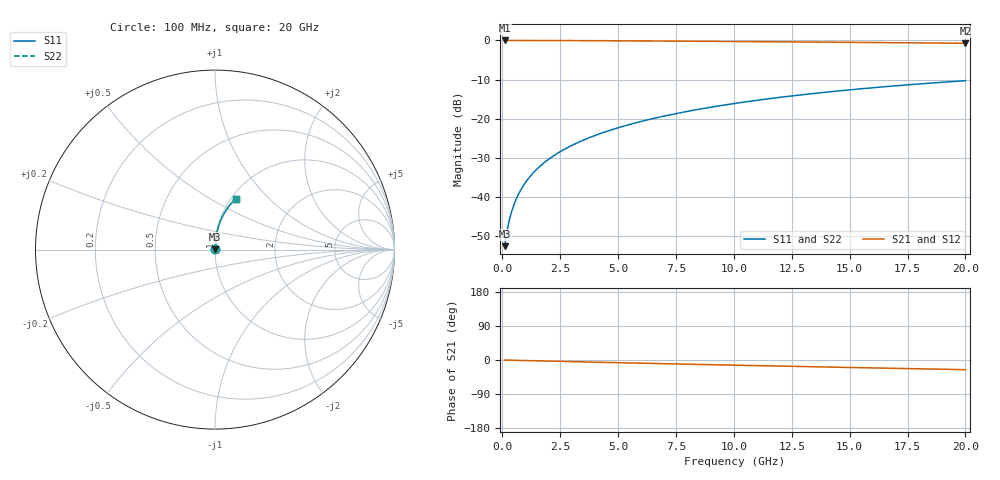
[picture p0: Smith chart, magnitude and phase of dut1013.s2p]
! Touchstone file exported from HFSS 2024.1.0
!  File:  C:/UserFiles/LocalFiles/RDL_TSV_Batchsim/temp_RDL_top_1013_1780042880.aedt
!  Generated:  04:23:51 PM May 29, 2026
!  Design:  RDL_top
!  Project:  temp_RDL_top_1013_1780042880
!  Setup:  Setup1
!  Solution:  Sweep
! Variables:
!  dtsv = 10.80580581um
!  hbump = 3um
!  htsv = 59.72um
!  ldown = 100um
!  lrdl = 295.8um
!  p = 40
!  p1 = 56.16um
!  rhole = 1um
!  t = 450um
!  tdown = 3.915915916um
!  trdl = 3.91um
!  wdown = 15.38538539um
!  wrdl = 16.68um
# GHz S MA R 50.000000
! Terminal data exported
! Port[1] = Box2_T1
! Port[2] = Box2_T2
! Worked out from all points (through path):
!   200 points, 100 MHz to 20 GHz, reference 50 ohm
!   highest |S21| = -0.02 dB at 100 MHz (marker M1); lowest = -0.7 dB at 20 GHz (marker M2)
!   group delay of S21, straight-line fit = 3.53 ps
!   lowest |S11| = -52.5 dB at 100 MHz (marker M3), VSWR 1.00, Z = 50.2 + j0.159 ohm
!   |S11| at or under -10 dB: start of sweep to end of sweep
!   |S22| runs from -52.5 to -10.3 dB; largest |S21 - S12| = 2.6e-15
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0.1  0.002367 42.0  0.9982 -0.2  0.9982 -0.2  0.002367 42.0
! Gamma 0 0 0 0
! Port Impedance 50 0 50 0
0.2  0.003631 60.1  0.9982 -0.3  0.9982 -0.3  0.003631 60.1
0.3  0.005043 68.2  0.9981 -0.4  0.9981 -0.4  0.005043 68.2
0.4  0.006491 72.7  0.998 -0.6  0.998 -0.6  0.006491 72.7
0.5  0.007953 75.5  0.9979 -0.7  0.9979 -0.7  0.007953 75.5
0.6  0.009422 77.5  0.9979 -0.9  0.9979 -0.9  0.009422 77.5
0.8  0.01238 80.1  0.9977 -1.2  0.9977 -1.2  0.01238 80.1
1.1  0.01685 82.3  0.9974 -1.6  0.9974 -1.6  0.01685 82.3
1.5  0.02285 83.8  0.9969 -2.2  0.9969 -2.2  0.02285 83.8
1.8  0.02738 84.5  0.9965 -2.6  0.9965 -2.6  0.02738 84.5
2.1  0.03193 84.9  0.996 -3.1  0.996 -3.1  0.03193 84.9
2.7  0.04107 85.2  0.9948 -3.9  0.9948 -3.9  0.04107 85.2
3.5  0.05337 85.3  0.9928 -5.0  0.9928 -5.0  0.05337 85.3
4.2  0.06423 85.0  0.9908 -6.0  0.9908 -6.0  0.06423 85.0
5  0.07675 84.6  0.9882 -7.1  0.9882 -7.1  0.07675 84.6
5.9  0.09094 83.9  0.9851 -8.3  0.9851 -8.3  0.09095 83.9
6.8  0.1052 83.2  0.9816 -9.5  0.9816 -9.5  0.1052 83.2
8.3  0.1292 81.7  0.9756 -11.5  0.9756 -11.5  0.1292 81.7
10.1  0.1578 79.7  0.9678 -13.8  0.9678 -13.8  0.1578 79.7
13.4  0.2095 75.7  0.9527 -17.8  0.9527 -17.8  0.2095 75.8
16.7  0.2592 71.7  0.9365 -21.8  0.9365 -21.8  0.2592 71.7
20  0.3061 67.8  0.9192 -25.5  0.9192 -25.5  0.3061 67.8
